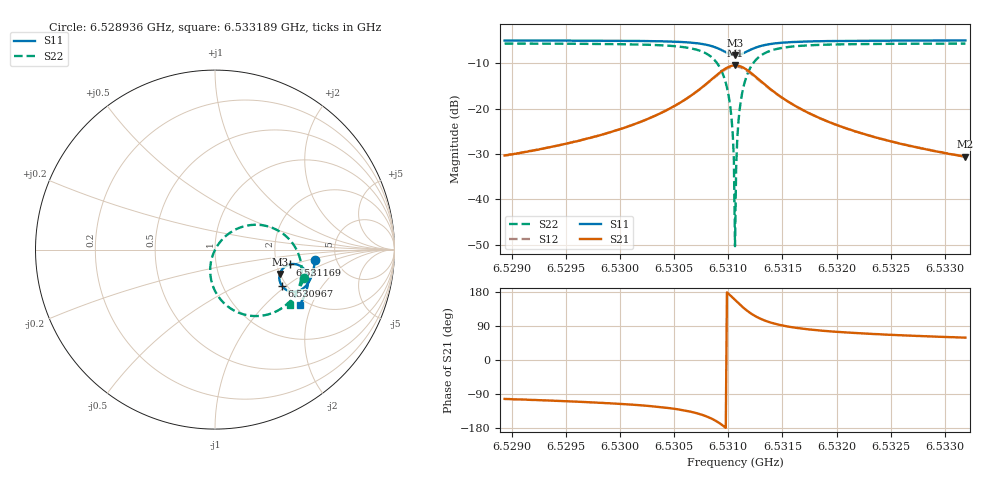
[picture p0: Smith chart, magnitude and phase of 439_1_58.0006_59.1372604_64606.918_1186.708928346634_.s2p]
#  HZ  S  RI  R  50.00
! Rohde & Schwarz Vector Network Analyzer
! Rohde-Schwarz,ZNB20-2Port,1311601062101988,3.16
! Created: UTC 3/21/2024, 1:09:58 AM
! freq[Hz]  re:S11  im:S11  re:S21  im:S21  re:S12  im:S12  re:S22  im:S22
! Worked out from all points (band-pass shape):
!   401 points, 6.528936 GHz to 6.533189 GHz, reference 50 ohm
!   highest |S21| = -10.48 dB at 6.531063 GHz (marker M1); lowest = -30.6 dB at 6.533189 GHz (marker M2)
!   |S21| within 3 dB of the highest: 6.530852 GHz to 6.531276 GHz (424.6 kHz wide, 0.0065 % of centre)
!   lowest |S11| = -8.3 dB at 6.531063 GHz (marker M3), VSWR 2.26, Z = 99.9 - j31.7 ohm
!   |S11| at or under -10 dB: nowhere
!   |S22| runs from -50.4 to -5.7 dB; largest |S21 - S12| = 0.011
!   S11 on the Smith chart (normalised r, x): 6.528936 GHz: 3.46, -0.57; 6.530967 GHz: 1.89, -0.93; 6.531169 GHz: 2.35, -0.47; 6.533189 GHz: 1.82, -1.65
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6.5289364e9  0.5584 -0.056  -0.00669 -0.0296  -0.00742 -0.0296  0.4954 -0.159
6.5296486e9  0.5482 -0.1148  -0.0159 -0.0421  -0.0167 -0.0418  0.4657 -0.2245
6.5303609e9  0.5201 -0.1844  -0.0484 -0.0722  -0.0506 -0.0711  0.3864 -0.3165
6.5307861e9  0.451 -0.2337  -0.1534 -0.0981  -0.1557 -0.0921  0.1847 -0.3666
6.5308924e9  0.4073 -0.2292  -0.2212 -0.0728  -0.2206 -0.0639  0.0687 -0.3147
6.5309668e9  0.3732 -0.2026  -0.2716 -0.0161  -0.2663 -0.00671  -0.00849 -0.2113
6.5309987e9  0.363 -0.183  -0.285 0.0214  -0.2776 0.0297  -0.0253 -0.1468
6.53102e9  0.359 -0.1679  -0.2887 0.0498  -0.2798 0.0568  -0.0266 -0.0989
6.5310306e9  0.3583 -0.1597  -0.2884 0.0646  -0.279 0.0709  -0.0237 -0.0744
6.5310412e9  0.3584 -0.1515  -0.2867 0.0796  -0.2769 0.085  -0.0184 -0.0501
6.5310519e9  0.3595 -0.1434  -0.2835 0.0944  -0.2732 0.0989  -0.0108 -0.0262
6.5310625e9  0.3614 -0.135  -0.2786 0.109  -0.2683 0.1126  -0.00069 -0.00296
6.5310731e9  0.3642 -0.1273  -0.2725 0.1231  -0.2622 0.1256  0.0117 0.0192
6.5310838e9  0.3678 -0.1197  -0.2651 0.1364  -0.2548 0.138  0.026 0.0397
6.5310944e9  0.3724 -0.1127  -0.2562 0.1486  -0.2464 0.1495  0.0422 0.0588
6.5311157e9  0.3829 -0.1006  -0.2359 0.1701  -0.2268 0.1693  0.0789 0.0908
6.5311688e9  0.4152 -0.0826  -0.1771 0.202  -0.1706 0.1991  0.1815 0.1343
6.5312432e9  0.4572 -0.0831  -0.1032 0.2044  -0.0999 0.2015  0.3062 0.1258
6.5313495e9  0.4935 -0.1053  -0.0396 0.1742  -0.0381 0.1726  0.4102 0.061
6.5317748e9  0.5183 -0.1849  0.0152 0.0841  0.0162 0.0838  0.4827 -0.1282
6.532487e9  0.4985 -0.2564  0.0176 0.0403  0.0181 0.0401  0.4552 -0.2445
6.5331886e9  0.4712 -0.3083  0.0152 0.0252  0.0157 0.0251  0.4202 -0.3061
